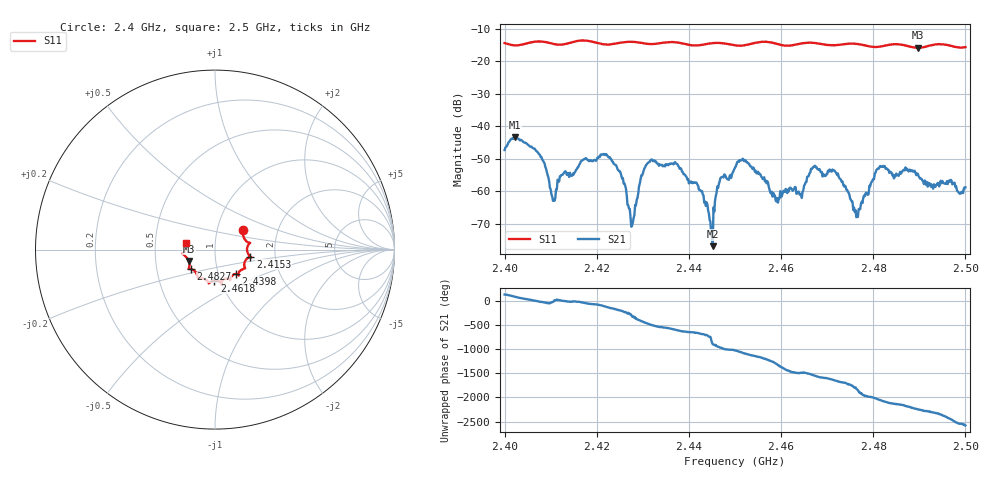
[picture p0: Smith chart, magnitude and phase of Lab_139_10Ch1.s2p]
# Hz S RI R 50
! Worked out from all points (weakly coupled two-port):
!   601 points, 2.4 GHz to 2.5 GHz, reference 50 ohm
!   highest |S21| = -43.46 dB at 2.4023 GHz (marker M1); lowest = -76.8 dB at 2.4452 GHz (marker M2)
!   lowest |S11| = -15.9 dB at 2.4897 GHz (marker M3), VSWR 1.38, Z = 36.9 - j4.82 ohm
!   |S11| at or under -10 dB: start of sweep to end of sweep
!   S12 and S22 are empty: the file has one direction only
!   S11 on the Smith chart (normalised r, x): 2.4 GHz: 1.33, +0.30; 2.4153 GHz: 1.48, -0.12; 2.4398 GHz: 1.21, -0.34; 2.4618 GHz: 0.94, -0.33; 2.4827 GHz: 0.75, -0.17; 2.5 GHz: 0.72, +0.06
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2.4e9  0.1554 0.1072  -0.00245 0.00354  0 0  0 0
2.402333e9  0.1597 0.0689  0.00144 0.00656  0 0  0 0
2.407667e9  0.1962 0.0379  0.00333 -0.00142  0 0  0 0
2.4105e9  0.1827 0.0209  0.00065 -0.000296  0 0  0 0
2.415333e9  0.1966 -0.0393  0.0019 -0.000623  0 0  0 0
2.416667e9  0.2023 -0.0432  0.0024 -0.00171  0 0  0 0
2.422667e9  0.1638 -0.0722  -0.00275 -0.00181  0 0  0 0
2.427667e9  0.1679 -0.1041  0.00026 0.000148  0 0  0 0
2.4305e9  0.1476 -0.1127  -0.000271 -0.00233  0 0  0 0
2.433333e9  0.1298 -0.134  -0.00266 1.05e-05  0 0  0 0
2.439833e9  0.1153 -0.1358  0.000503 0.00145  0 0  0 0
2.445167e9  0.084 -0.1692  -0.000144 4.4e-06  0 0  0 0
2.446667e9  0.0845 -0.17  -0.000563 0.0013  0 0  0 0
2.45e9  0.0652 -0.1621  0.00148 0.00177  0 0  0 0
2.461833e9  -0.00344 -0.1728  0.0011 -0.000232  0 0  0 0
2.466667e9  -0.0347 -0.1881  0.000122 -0.00221  0 0  0 0
2.471833e9  -0.0683 -0.1614  -0.00166 0.00107  0 0  0 0
2.4765e9  -0.0958 -0.156  0.000365 -0.000244  0 0  0 0
2.482667e9  -0.135 -0.1087  0.000774 0.00209  0 0  0 0
2.483333e9  -0.1402 -0.1083  0.00138 0.00162  0 0  0 0
2.489667e9  -0.1468 -0.0636  0.00011 -0.00186  0 0  0 0
2.5e9  -0.1592 0.0387  0.000616 -0.000976  0 0  0 0
